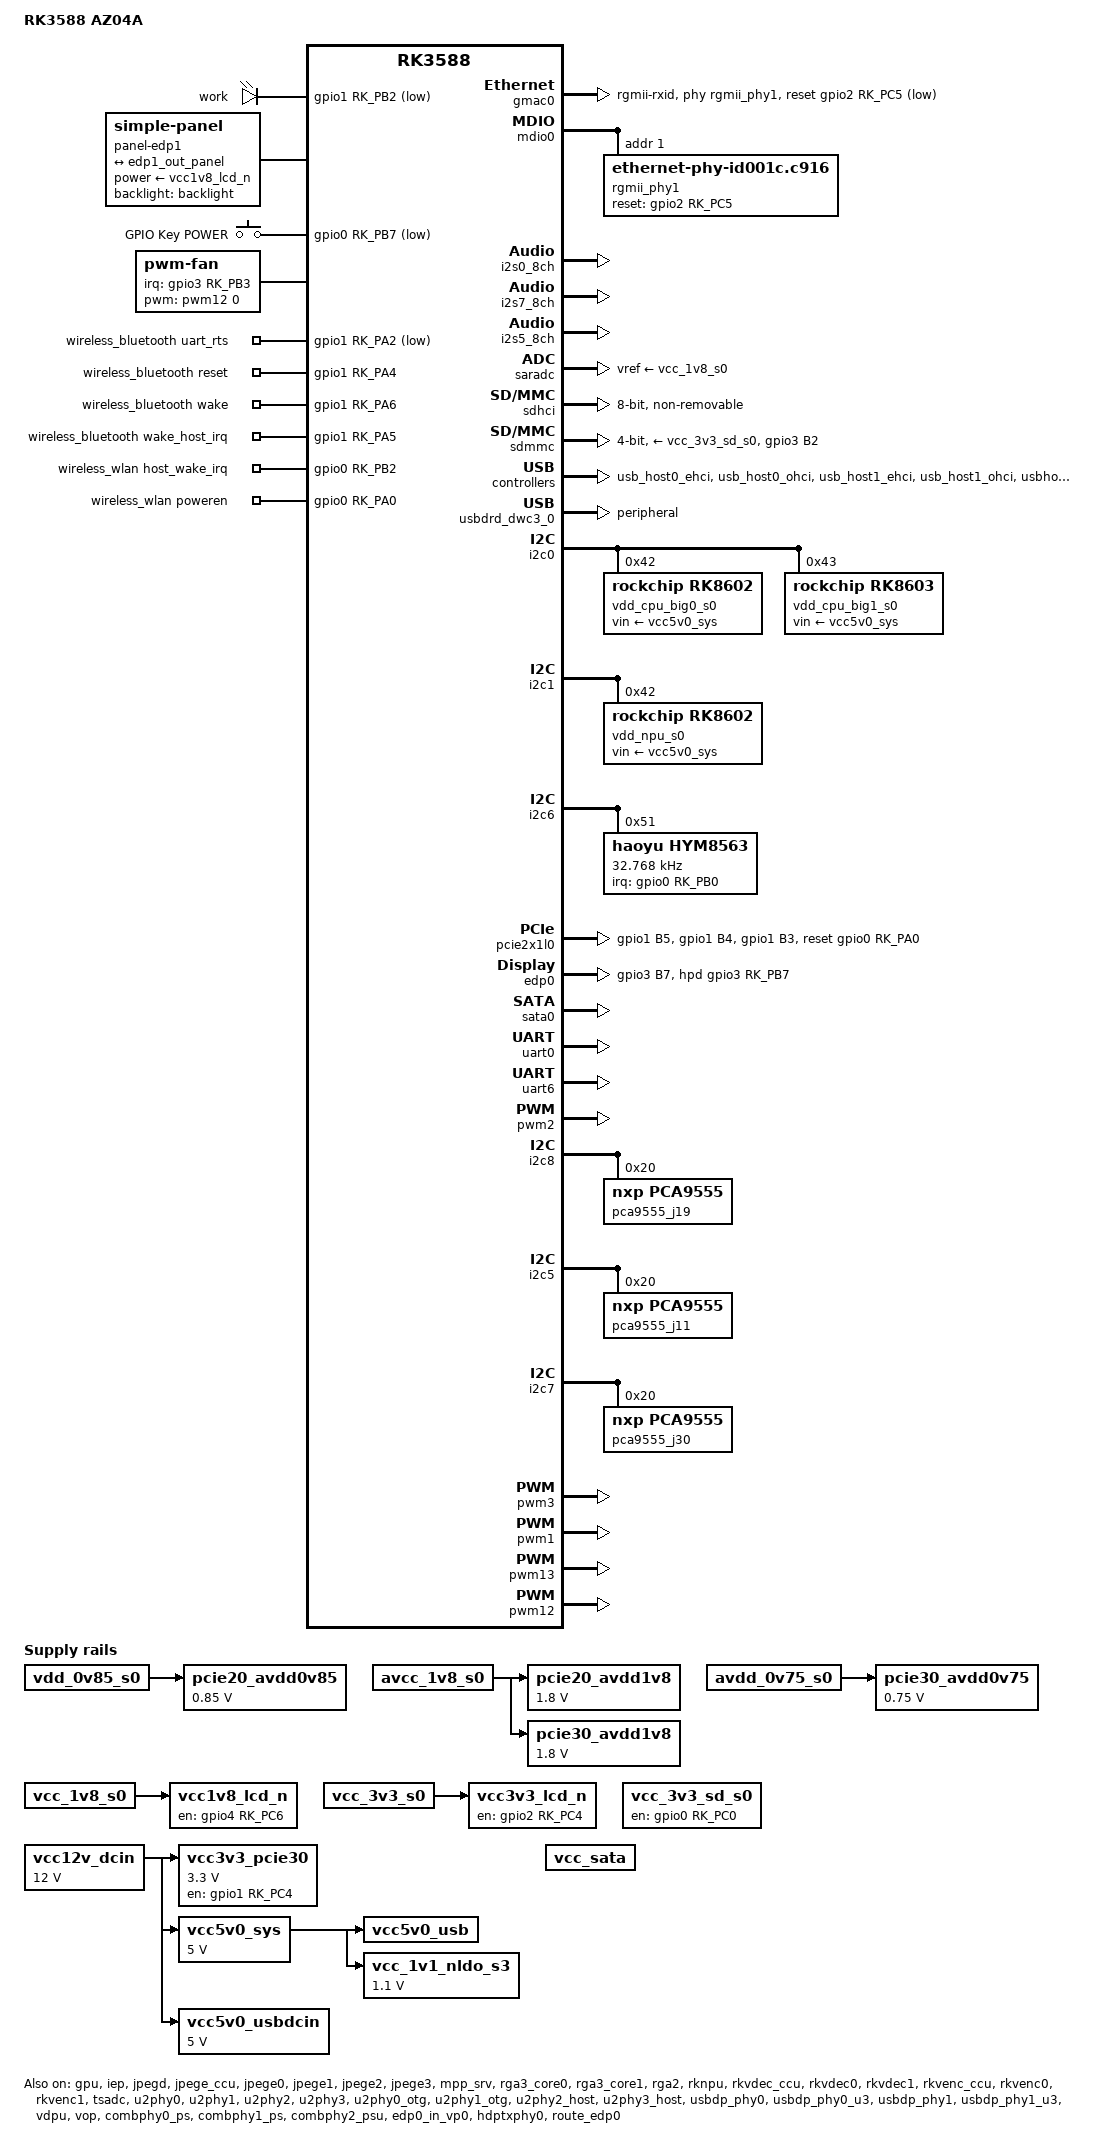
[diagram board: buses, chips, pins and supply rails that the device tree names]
// SPDX-License-Identifier: (GPL-2.0+ OR MIT)
/*
 * Copyright (c) 2022 Mixtile Limited
 *
 */

/dts-v1/;

#include <dt-bindings/gpio/gpio.h>
#include <dt-bindings/pwm/pwm.h>
#include <dt-bindings/pinctrl/rockchip.h>
#include <dt-bindings/input/rk-input.h>
#include <dt-bindings/display/drm_mipi_dsi.h>
#include <dt-bindings/display/rockchip_vop.h>
#include <dt-bindings/sensor-dev.h>

#include "dt-bindings/usb/pd.h"
#include "rk3588.dtsi"
#include "rk3588-rk806-single.dtsi"
#include "rk3588-linux.dtsi"

//#include "rk3588-blade3-imx415.dtsi"

/ {
	model = "RK3588 AZ04A";
	compatible = "rockchip,rk3588-az04a", "rockchip,rk3588";

	/* If hdmirx node is disabled, delete the reserved-memory node here. */
	reserved-memory {
		#address-cells = <2>;
		#size-cells = <2>;
		ranges;

		/* Reserve 256MB memory for hdmirx-controller@fdee0000 */
		cma {
			compatible = "shared-dma-pool";
			reusable;
			reg = <0x0 (256 * 0x100000) 0x0 (256 * 0x100000)>;
			linux,cma-default;
		};
	};

	leds: gpio-leds {
		compatible = "gpio-leds";

		work_led: work {
			gpios = <&gpio1 RK_PB2 GPIO_ACTIVE_LOW>;
			label = "work";
			linux,default-trigger = "timer";
			pinctrl-names = "default";
			pinctrl-0 = <&work_ctl>;
		};
	};

	panel-edp1 {
		compatible = "simple-panel";
		backlight = <&backlight>;
		power-supply = <&vcc1v8_lcd_n>;
		prepare-delay-ms = <120>;
		enable-delay-ms = <120>;
		unprepare-delay-ms = <120>;
		disable-delay-ms = <120>;
		width-mm = <129>;
		height-mm = <171>;

		panel-timing {
			clock-frequency = <200000000>;
			hactive = <1536>;
			vactive = <2048>;
			hfront-porch = <12>;
			hsync-len = <16>;
			hback-porch = <48>;
			vfront-porch = <8>;
			vsync-len = <4>;
			vback-porch = <8>;
			hsync-active = <0>;
			vsync-active = <0>;
			de-active = <0>;
			pixelclk-active = <0>;
		};

		port {
			panel_in_edp1: endpoint {
				remote-endpoint = <&edp1_out_panel>;
			};
		};
	};

	edp0-sound {
		compatible = "simple-audio-card";
		simple-audio-card,name = "rockchip-edp-sound";

		simple-audio-card,cpu {
			sound-dai = <&spdif_tx3>;
		};

		simple-audio-card,codec {
			sound-dai = <&edp0 1>;
		};
	};

	pcie20_avdd0v85: pcie20-avdd0v85 {
		compatible = "regulator-fixed";
		regulator-name = "pcie20_avdd0v85";
		regulator-boot-on;
		regulator-always-on;
		regulator-min-microvolt = <850000>;
		regulator-max-microvolt = <850000>;
		vin-supply = <&vdd_0v85_s0>;
	};

	pcie20_avdd1v8: pcie20-avdd1v8 {
		compatible = "regulator-fixed";
		regulator-name = "pcie20_avdd1v8";
		regulator-boot-on;
		regulator-always-on;
		regulator-min-microvolt = <1800000>;
		regulator-max-microvolt = <1800000>;
		vin-supply = <&avcc_1v8_s0>;
	};

	pcie30_avdd0v75: pcie30-avdd0v75 {
		compatible = "regulator-fixed";
		regulator-name = "pcie30_avdd0v75";
		regulator-boot-on;
		regulator-always-on;
		regulator-min-microvolt = <750000>;
		regulator-max-microvolt = <750000>;
		vin-supply = <&avdd_0v75_s0>;
	};

	pcie30_avdd1v8: pcie30-avdd1v8 {
		compatible = "regulator-fixed";
		regulator-name = "pcie30_avdd1v8";
		regulator-boot-on;
		regulator-always-on;
		regulator-min-microvolt = <1800000>;
		regulator-max-microvolt = <1800000>;
		vin-supply = <&avcc_1v8_s0>;
	};

	vcc3v3_pcie30: vcc3v3-pcie30 {
		compatible = "regulator-fixed";
		regulator-name = "vcc3v3_pcie30";
		regulator-min-microvolt = <3300000>;
		regulator-max-microvolt = <3300000>;
		enable-active-high;
		gpios = <&gpio1 RK_PC4 GPIO_ACTIVE_HIGH>;
		startup-delay-us = <5000>;
		vin-supply = <&vcc12v_dcin>;
	};

	vcc_3v3_sd_s0: vcc-3v3-sd-s0-regulator {
		compatible = "regulator-fixed";
		gpio = <&gpio0 RK_PC0 GPIO_ACTIVE_HIGH>;
		pinctrl-names = "default";
		pinctrl-0 = <&sd_s0_pwr>;
		regulator-name = "vcc_3v3_sd_s0";
		enable-active-high;
	};

	vcc12v_dcin: vcc12v-dcin {
		compatible = "regulator-fixed";
		regulator-name = "vcc12v_dcin";
		regulator-always-on;
		regulator-boot-on;
		regulator-min-microvolt = <12000000>;
		regulator-max-microvolt = <12000000>;
	};

	vcc5v0_sys: vcc5v0-sys {
		compatible = "regulator-fixed";
		regulator-name = "vcc5v0_sys";
		regulator-always-on;
		regulator-boot-on;
		regulator-min-microvolt = <5000000>;
		regulator-max-microvolt = <5000000>;
		vin-supply = <&vcc12v_dcin>;
	};

	vcc5v0_usbdcin: vcc5v0-usbdcin {
		compatible = "regulator-fixed";
		regulator-name = "vcc5v0_usbdcin";
		regulator-always-on;
		regulator-boot-on;
		regulator-min-microvolt = <5000000>;
		regulator-max-microvolt = <5000000>;
		vin-supply = <&vcc12v_dcin>;
	};

	vcc5v0_usb: vcc5v0-usb {
		compatible = "regulator-fixed";
		regulator-name = "vcc5v0_usb";
		regulator-boot-on;
		regulator-always-on;
		enable-active-high;
		vin-supply = <&vcc5v0_sys>;
		pinctrl-names = "default";
		pinctrl-0 = <&usb20_host_pwren0_1v8 &usb20_host_pwren1_1v8 &usb20_host_pwren2_1v8 
					 &usb30_host_pwren0_1v8 &usb30_host_pwren1_1v8 &usb30_host_pwren2_1v8 &usb30_host_pwren3_1v8>;
	};

	vcc_1v1_nldo_s3: vcc-1v1-nldo-s3 {
		compatible = "regulator-fixed";
		regulator-name = "vcc_1v1_nldo_s3";
		regulator-always-on;
		regulator-boot-on;
		regulator-min-microvolt = <1100000>;
		regulator-max-microvolt = <1100000>;
		vin-supply = <&vcc5v0_sys>;
	};

	//vcc_mipidcphy0: vcc-mipidcphy0-regulator {
	//	compatible = "regulator-fixed";
	//	gpio = <&gpio2 RK_PC4 GPIO_ACTIVE_HIGH>;
	//	pinctrl-names = "default";
	//	pinctrl-0 = <&mipidcphy0_pwr>;
	//	regulator-name = "vcc_mipidcphy0";
	//	enable-active-high;
	//};

	vcc1v8_lcd_n: vcc1v8-lcd-n {
		compatible = "regulator-fixed";
		regulator-name = "vcc1v8_lcd_n";
		regulator-boot-on;
		enable-active-high;
		pinctrl-0 = <&mipi_pwren_1v8>;
		pinctrl-names = "default";
		gpio = <&gpio4 RK_PC6 GPIO_ACTIVE_HIGH>;
		vin-supply = <&vcc_1v8_s0>;
	};

	vcc3v3_lcd_n: vcc3v3-lcd-n {
		compatible = "regulator-fixed";
		regulator-name = "vcc3v3_lcd_n";
		regulator-boot-on;
		enable-active-high;
		pinctrl-0 = <&mipi_pwren_3v3>;
		pinctrl-names = "default";
		gpio = <&gpio2 RK_PC4 GPIO_ACTIVE_HIGH>;
		vin-supply = <&vcc_3v3_s0>;
	};

	vcc_sata:vcc-sata {
		compatible = "regulator-fixed";
		regulator-name = "vcc_sata";
		regulator-always-on;
		pinctrl-0 = <&sata_pwr>;
		pinctrl-names = "default";
	};

	gpio-keys {
		compatible = "gpio-keys";
		pinctrl-0 = <&pwr_press_det>;
		pinctrl-names = "default";

		key-power {
			label = "GPIO Key POWER";
			linux,code = <0x74>;
			gpios = <&gpio0 RK_PB7 GPIO_ACTIVE_LOW>;
		};
	};

	fan: pwm-fan {
		compatible = "pwm-fan";

		interrupt-parent = <&gpio3>;
		interrupts = <RK_PB3 IRQ_TYPE_EDGE_FALLING>;
		pulses-per-revolution = <2>;

		#cooling-cells = <2>;
		pwms = <&pwm12 0 50000 0>;
    };

	wireless_bluetooth: wireless-bluetooth {
		compatible = "bluetooth-platdata";
		clocks = <&hym8563>;
		clock-names = "ext_clock"; 
		uart_rts_gpios = <&gpio1 RK_PA2 GPIO_ACTIVE_LOW>;
		pinctrl-names = "default", "rts_gpio";
		pinctrl-0 = <&uart6m1_rtsn>;
		pinctrl-1 = <&uart6_gpios>;
		BT,reset_gpio    = <&gpio1 RK_PA4 GPIO_ACTIVE_HIGH>;
		BT,wake_gpio     = <&gpio1 RK_PA6 GPIO_ACTIVE_HIGH>;
		BT,wake_host_irq = <&gpio1 RK_PA5 GPIO_ACTIVE_HIGH>;
		status = "okay";
	};

	wireless_wlan: wireless-wlan {
		compatible = "wlan-platdata";
		wifi_chip_type = "ap6275p";
		pinctrl-names = "default";
		pinctrl-0 = <&wifi_host_wake_irq>, <&wifi_poweren_gpio>;
		WIFI,host_wake_irq = <&gpio0 RK_PB2 GPIO_ACTIVE_HIGH>;
		WIFI,poweren_gpio = <&gpio0 RK_PA0 GPIO_ACTIVE_HIGH>;
		status = "okay";
	};

	//主控PCM 主从配制 用于蓝牙与主控PCM连接，如下：
	//RK做主，codec做从：主控配制为主，pcm_sync/pcm_clk 信号由由主控提供。
	bt-sound {
		compatible = "simple-audio-card";
		simple-audio-card,format = "dsp_b";
		simple-audio-card,bitclock-inversion = <1>;
		simple-audio-card,mclk-fs = <256>;
		simple-audio-card,name = "rockchip,bt";

		simple-audio-card,cpu {
			sound-dai = <&i2s0_8ch>; //根据原理图找到对应的I2S/PCM接口，引用它并使能它；
		};

		simple-audio-card,codec {
			sound-dai = <&bt_sco>;
		};
	};
		bt_sco: bt-sco {
			compatible = "delta,dfbmcs320";
			#sound-dai-cells = <0>;
			status = "okay";
		};
	//RK做从，codec做主：蓝牙芯片配制为主，pcm_sync/pcm_clk 信号由由蓝牙提供。
	bt-sound {
		compatible = "simple-audio-card";
		simple-audio-card,format = "dsp_b";
		simple-audio-card,bitclock-inversion = <1>;
		simple-audio-card,mclk-fs = <256>;
		simple-audio-card,name = "rockchip,bt";
		simple-audio-card,bitclock-master = <&sound2_master>;
		simple-audio-card,frame-master = <&sound2_master>;

		simple-audio-card,cpu {
			sound-dai = <&i2s0_8ch>; //根据原理图找到对应的I2S/PCM接口，引用它并使能它；
		};

		sound2_master:simple-audio-card,codec {
			sound-dai = <&bt_sco>;
		};
	};

	bt_sco: bt-sco {
		compatible = "delta,dfbmcs320";
		#sound-dai-cells = <0>;
		status = "okay";
	};

	backlight: backlight {
		compatible = "pwm-backlight";
		brightness-levels = <
			  0  20  20  21  21  22  22  23
			 23  24  24  25  25  26  26  27
			 27  28  28  29  29  30  30  31
			 31  32  32  33  33  34  34  35
			 35  36  36  37  37  38  38  39
			 40  41  42  43  44  45  46  47
			 48  49  50  51  52  53  54  55
			 56  57  58  59  60  61  62  63
			 64  65  66  67  68  69  70  71
			 72  73  74  75  76  77  78  79
			 80  81  82  83  84  85  86  87
			 88  89  90  91  92  93  94  95
			 96  97  98  99 100 101 102 103
			104 105 106 107 108 109 110 111
			112 113 114 115 116 117 118 119
			120 121 122 123 124 125 126 127
			128 129 130 131 132 133 134 135
			136 137 138 139 140 141 142 143
			144 145 146 147 148 149 150 151
			152 153 154 155 156 157 158 159
			160 161 162 163 164 165 166 167
			168 169 170 171 172 173 174 175
			176 177 178 179 180 181 182 183
			184 185 186 187 188 189 190 191
			192 193 194 195 196 197 198 199
			200 201 202 203 204 205 206 207
			208 209 210 211 212 213 214 215
			216 217 218 219 220 221 222 223
			224 225 226 227 228 229 230 231
			232 233 234 235 236 237 238 239
			240 241 242 243 244 245 246 247
			248 249 250 251 252 253 254 255
		>;
		default-brightness-level = <200>;
		enable-gpios = <&gpio3 RK_PB1 GPIO_ACTIVE_HIGH>;
		pwms = <&pwm13 0 25000 0>;
	};

	//backlight0: backlight0 {
	//	compatible = "pwm-backlight";
	//	pwms = <&pwm3 0 25000 0>;
	//	enable-gpios = <&gpio1 RK_PC1 GPIO_ACTIVE_HIGH>;
	//	default-brightness-level = <200>;
	//	status = "okay";
	//};

	backlight0: backlight0  {
		compatible = "pwm-backlight";
		enable-gpios = <&gpio1 RK_PC1 GPIO_ACTIVE_HIGH>;
		pwms = <&pwm3 0 25000 0>;
		//pinctrl-0 = <0x124>;
		//pinctrl-names = "default";
		power-supply = <&vcc5v0_sys>;
		status = "disabled";
		brightness-levels = <0x00 0x1a 0x21 0x2a 0x33 0x3d 0x49 0x56 0x64 0x74 0x86 0x99 0xad 0xc3 0xdb 0xf5 0x110 0x12e 0x14d 0x16e 0x192 0x1b7 0x1de 0x208 0x234 0x262 0x292 0x2c5 0x2fa 0x332 0x36c 0x3a9 0x3e8>;
		default-brightness-level = <0x1d>;
		max-duty-cycle = <0x4e20>;
	};

	backlight1: backlight1 {
		compatible = "pwm-backlight";
		pwms = <&pwm1 0 25000 0>;
		enable-gpios = <&gpio1 RK_PC6 GPIO_ACTIVE_LOW>;
		default-brightness-level = <200>;
		status = "disabled";
	};
};

&gmac0 {
	/* Use rgmii-rxid mode to disable rx delay inside Soc */
	phy-mode = "rgmii-rxid";
	clock_in_out = "output";

	snps,reset-gpio = <&gpio2 RK_PC5 GPIO_ACTIVE_HIGH>;
	snps,reset-active-low;
	/* Reset time is 20ms, 100ms for rtl8211f */
	snps,reset-delays-us = <0 20000 100000>;

	pinctrl-names = "default";
	pinctrl-0 = <&gmac0_miim
		     &gmac0_tx_bus2
		     &gmac0_rx_bus2
		     &gmac0_rgmii_clk
		     &gmac0_rgmii_bus>;

	tx_delay = <0x43>;
	rx_delay = <0x3f>;

	phy-handle = <&rgmii_phy1>;
	status = "okay";
};

&mdio0 {
	rgmii_phy1: phy@1 {
		compatible = "ethernet-phy-id001c.c916";
		reset-gpios = <&gpio2 RK_PC5 GPIO_ACTIVE_HIGH>;
		reg = <0x1>;
	};
};

&av1d_mmu {
	status = "okay";
};

&cpu_l0 {
	cpu-supply = <&vdd_cpu_lit_s0>;
	mem-supply = <&vdd_cpu_lit_mem_s0>;
};

&cpu_b0 {
	cpu-supply = <&vdd_cpu_big0_s0>;
	mem-supply = <&vdd_cpu_big0_mem_s0>;
};

&cpu_b2 {
	cpu-supply = <&vdd_cpu_big1_s0>;
	mem-supply = <&vdd_cpu_big1_mem_s0>;
};

&gpu {
	mali-supply = <&vdd_gpu_s0>;
	mem-supply = <&vdd_gpu_mem_s0>;
	status = "okay";
};

&i2s0_8ch {
	status = "okay";
	pinctrl-0 = <&i2s0_lrck
		     &i2s0_sclk
		     &i2s0_sdi0
		     &i2s0_sdo0>;
};

&i2s7_8ch {
	status = "okay";
};

&i2s5_8ch {
	status = "okay";
};

&iep {
	status = "okay";
};

&iep_mmu {
	status = "okay";
};

&jpegd {
	status = "okay";
};

&jpegd_mmu {
	status = "okay";
};

&jpege_ccu {
	status = "okay";
};

&jpege0 {
	status = "okay";
};

&jpege0_mmu {
	status = "okay";
};

&jpege1 {
	status = "okay";
};

&jpege1_mmu {
	status = "okay";
};

&jpege2 {
	status = "okay";
};

&jpege2_mmu {
	status = "okay";
};

&jpege3 {
	status = "okay";
};

&jpege3_mmu {
	status = "okay";
};

&mpp_srv {
	status = "okay";
};

&rga3_core0 {
	status = "okay";
};

&rga3_0_mmu {
	status = "okay";
};

&rga3_core1 {
	status = "okay";
};

&rga3_1_mmu {
	status = "okay";
};

&rga2 {
	status = "okay";
};

&rknpu {
	rknpu-supply = <&vdd_npu_s0>;
	mem-supply = <&vdd_npu_mem_s0>;
	status = "okay";
};

&rknpu_mmu {
	status = "okay";
};

&rkvdec_ccu {
	status = "okay";
};

&rkvdec0 {
	status = "okay";
};

&rkvdec0_mmu {
	status = "okay";
};

&rkvdec1 {
	status = "okay";
};

&rkvdec1_mmu {
	status = "okay";
};

&rkvenc_ccu {
	status = "okay";
};

&rkvenc0 {
	status = "okay";
};

&rkvenc0_mmu {
	status = "okay";
};

&rkvenc1 {
	status = "okay";
};

&rkvenc1_mmu {
	status = "okay";
};

&rockchip_suspend {
	status = "okay";
	rockchip,sleep-debug-en = <1>;
	rockchip,sleep-mode-config = <0x4000024>;
};

&saradc {
	status = "okay";
	vref-supply = <&vcc_1v8_s0>;
};

&sdhci {
	bus-width = <8>;
	no-sdio;
	no-sd;
	non-removable;
	max-frequency = <200000000>;
	mmc-hs400-1_8v;
	mmc-hs400-enhanced-strobe;
	status = "okay";
};

&sdmmc {
	pinctrl-names = "default";
	pinctrl-0 = <&sdmmc_clk &sdmmc_cmd &sdmmc_det &sdmmc_bus4 &sdmmc_wp>;
	max-frequency = <200000000>;
	no-sdio;
	no-mmc;
	bus-width = <4>;
	cap-mmc-highspeed;
	cap-sd-highspeed;
	disable-wp;
	sd-uhs-sdr104;
	vmmc-supply = <&vcc_3v3_sd_s0>;
	vqmmc-supply = <&vccio_sd_s0>;
	status = "okay";
};

&tsadc {
	status = "okay";
};

&u2phy0 {
	status = "okay";
};

&u2phy1 {
	status = "okay";
	phy-supply = <&vcc5v0_usb>;
};

&u2phy2 {
	status = "okay";
	phy-supply = <&vcc5v0_usb>;
};

&u2phy3 {
	status = "okay";
	phy-supply = <&vcc5v0_usb>;
};

&u2phy0_otg {
	status = "okay";
	rockchip,typec-vbus-det;
};

&u2phy1_otg {
	status = "okay";
	//rockchip,typec-vbus-det;
};

&u2phy2_host {
	status = "okay";
	phy-supply = <&vcc5v0_usb>;
};

&u2phy3_host {
	status = "okay";
	phy-supply = <&vcc5v0_usb>;
};

&usb_host0_ehci {
	status = "okay";
};

&usb_host0_ohci {
	status = "okay";
};

&usb_host1_ehci {
	status = "okay";
};

&usb_host1_ohci {
	status = "okay";
};

&usbhost3_0 {
	status = "okay";
};

&usbhost_dwc3_0 {
	status = "okay";
};

// USB3.0/DP Combo PHY0
&usbdp_phy0 {
	status = "okay";
};

&usbdp_phy0_u3 {
	//maximum-speed = "high-speed";
	status = "okay";
};

&usbdp_phy1 {
	status = "okay";
};

&usbdp_phy1_u3 {
	//maximum-speed = "high-speed";
	status = "okay";
};

&usbdrd3_0 {
	status = "okay";
};

&usbdrd_dwc3_0 {
	dr_mode = "peripheral";
	status = "okay";
};

&usbdrd3_1 {
	status = "okay";
};

&usbdrd_dwc3_1 {
	status = "okay";
};

&vdpu {
	status = "okay";
};

&vdpu_mmu {
	status = "okay";
};

&vop {
	status = "okay";
};

&vop_mmu {
	status = "okay";
};

/* vp0 & vp1 splice for 8K output */
&vp0 {
	rockchip,plane-mask = <(1 << ROCKCHIP_VOP2_CLUSTER0 | 1 << ROCKCHIP_VOP2_ESMART0)>;
	rockchip,primary-plane = <ROCKCHIP_VOP2_ESMART0>;
};

&vp1 {
	rockchip,plane-mask = <(1 << ROCKCHIP_VOP2_CLUSTER1 | 1 << ROCKCHIP_VOP2_ESMART1)>;
	rockchip,primary-plane = <ROCKCHIP_VOP2_ESMART1>;
};

&vp2 {
	rockchip,plane-mask = <(1 << ROCKCHIP_VOP2_CLUSTER2 | 1 << ROCKCHIP_VOP2_ESMART2)>;
	rockchip,primary-plane = <ROCKCHIP_VOP2_ESMART2>;
};

&vp3 {
	rockchip,plane-mask = <(1 << ROCKCHIP_VOP2_CLUSTER3 | 1 << ROCKCHIP_VOP2_ESMART3)>;
	rockchip,primary-plane = <ROCKCHIP_VOP2_ESMART3>;
};

&combphy0_ps {
	status = "okay";
};

&combphy1_ps {
	status = "okay";
};

&combphy2_psu {
	status = "okay";
};

&i2c0 {
	status = "okay";
	pinctrl-names = "default";
	pinctrl-0 = <&i2c0m2_xfer>;

	vdd_cpu_big0_s0: vdd_cpu_big0_mem_s0: rk8602@42 {
		compatible = "rockchip,rk8602";
		reg = <0x42>;
		vin-supply = <&vcc5v0_sys>;
		regulator-compatible = "rk860x-reg";
		regulator-name = "vdd_cpu_big0_s0";
		regulator-min-microvolt = <550000>;
		regulator-max-microvolt = <1050000>;
		regulator-ramp-delay = <2300>;
		rockchip,suspend-voltage-selector = <1>;
		regulator-boot-on;
		regulator-always-on;
		regulator-state-mem {
			regulator-off-in-suspend;
		};
	};

	vdd_cpu_big1_s0: vdd_cpu_big1_mem_s0: rk8603@43 {
		compatible = "rockchip,rk8603";
		reg = <0x43>;
		vin-supply = <&vcc5v0_sys>;
		regulator-compatible = "rk860x-reg";
		regulator-name = "vdd_cpu_big1_s0";
		regulator-min-microvolt = <550000>;
		regulator-max-microvolt = <1050000>;
		regulator-ramp-delay = <2300>;
		rockchip,suspend-voltage-selector = <1>;
		regulator-boot-on;
		regulator-always-on;
		regulator-state-mem {
			regulator-off-in-suspend;
		};
	};
};

&i2c1 {
	status = "okay";
	pinctrl-names = "default";
	pinctrl-0 = <&i2c1m2_xfer>;

	vdd_npu_s0: vdd_npu_mem_s0: rk8602@42 {
		compatible = "rockchip,rk8602";
		reg = <0x42>;
		vin-supply = <&vcc5v0_sys>;
		regulator-compatible = "rk860x-reg";
		regulator-name = "vdd_npu_s0";
		regulator-min-microvolt = <550000>;
		regulator-max-microvolt = <950000>;
		regulator-ramp-delay = <2300>;
		rockchip,suspend-voltage-selector = <1>;
		regulator-boot-on;
		regulator-always-on;
		regulator-state-mem {
			regulator-off-in-suspend;
		};
	};
};

&i2c6 {
	status = "okay";
	pinctrl-0 = <&i2c6m4_xfer>;

	hym8563: hym8563@51 {
		compatible = "haoyu,hym8563";
		reg = <0x51>;
		#clock-cells = <0>;
		clock-frequency = <32768>;
		clock-output-names = "hym8563";
		pinctrl-names = "default";
		pinctrl-0 = <&hym8563_int>;
		interrupt-parent = <&gpio0>;
		interrupts = <RK_PB0 IRQ_TYPE_LEVEL_LOW>;
		wakeup-source;
	};
};

&pcie2x1l0 { // combphy1, to AP6275P
	pinctrl-0 = <&pcie2x1l0_pins>;
	pinctrl-names = "default";
	reset-gpios = <&gpio0 RK_PA0 GPIO_ACTIVE_HIGH>;
	status = "okay";
};

&pcie2x1l1 {
	reset-gpios = <&gpio4 RK_PA2 GPIO_ACTIVE_HIGH>;
	status = "disabled";
};

&pcie30phy {
	rockchip,pcie30-phymode = <PHY_MODE_PCIE_AGGREGATION>; /* P1:PCIe3x2  +  P0:PCIe3x2 */
	status = "disabled";
};

&pcie3x4 {
	pinctrl-0 = <&pcie30x4m2_pins>;
	pinctrl-names = "default";
    reset-gpios = <&gpio3 RK_PC6 GPIO_ACTIVE_HIGH>;
    vpcie3v3-supply = <&vcc3v3_pcie30>;
    status = "disabled";
};

&pinctrl {
	work {
		work_ctl: work-ctl {
			rockchip,pins = <1 RK_PB2 RK_FUNC_GPIO &pcfg_pull_up>;
		};
	};

	sdmmc {
		sd_s0_pwr: sd-s0-pwr {
			rockchip,pins = <0 RK_PC0 RK_FUNC_GPIO &pcfg_pull_up>;
		};

		sdmmc_wp: sdmmc-wp {
			rockchip,pins = <3 RK_PB2 RK_FUNC_GPIO &pcfg_pull_up>;
		};
	};

	usb {
		vcc5v0_host_en: vcc5v0-host-en {
			rockchip,pins = <4 RK_PB0 RK_FUNC_GPIO &pcfg_pull_none>;
		};
	};

	pcie {
		pcie-pwren-h-1v8 {
			rockchip,pins = <0x01 0x14 0x00 0xff>;
		};

		pcie3x4_pins: pcie3x4-pins {
			rockchip,pins = <0x03 0x14 0x04 0xff 0x03 0x16 0x04 0xff 0x03 0x15 0x04 0xff>;
		};

		pcie2x1l0_pins: pcie2x1l0-pins {
			rockchip,pins = /* pcie30x1_0_clkreqn_m2 */
							<1 RK_PB5 4 &pcfg_pull_none>,
							/* pcie30x1_0_perstn_m2 */
							<1 RK_PB4 4 &pcfg_pull_none>,
							/* pcie30x1_0_waken_m2 */
							<1 RK_PB3 4 &pcfg_pull_none>;
		};
	};

	wireless-wlan {
		wifi_host_wake_irq: wifi-host-wake-irq {
			rockchip,pins = <0 RK_PB2 RK_FUNC_GPIO &pcfg_pull_down>;
		};

		wifi_poweren_gpio: wifi-poweren-gpio {
			rockchip,pins = <0 RK_PA0 RK_FUNC_GPIO &pcfg_pull_up>;
		};
	};

	hym8563 {
		hym8563_int: hym8563-int {
			rockchip,pins = <0 RK_PB0 RK_FUNC_GPIO &pcfg_pull_up>;
		};
	};

	wireless-bluetooth {
		uart6_gpios: uart6-gpios {
			rockchip,pins = <1 RK_PA2 RK_FUNC_GPIO &pcfg_pull_none>;
		};
	};

	fan {
		fan-tack-in {
			rockchip,pins = <0x03 RK_PB3 0x00 0x103>;
		};
	};

	gpio-keys {
		pwr_press_det: pwr-press-det {
			rockchip,pins = <0x00 RK_PB7 0x00 0xff>;
		};
	};

	edp {
		edp0_hpd: edp0-hpd {
			rockchip,pins = <3 RK_PB7 RK_FUNC_GPIO &pcfg_pull_none>;
		};

		edp1_hpd: edp1-hpd {
			rockchip,pins = <3 RK_PD4 RK_FUNC_GPIO &pcfg_pull_none>;
		};
    };

	usb {

		usb20_host_pwren0_1v8: usb20-host-pwren0-1v8 {
			rockchip,pins = <0x01 RK_PB7 RK_FUNC_GPIO &pcfg_pull_up>;
		};

		usb20_host_pwren1_1v8: usb20-host-pwren1-1v8 {
			rockchip,pins = <0x01 RK_PD6 RK_FUNC_GPIO &pcfg_pull_up>;
		};

		usb20_host_pwren2_1v8: usb20-host-pwren2-1v8 {
			rockchip,pins = <0x01 RK_PD7 RK_FUNC_GPIO &pcfg_pull_up>;
		};

		usb30_host_pwren0_1v8: usb30-host-pwren0-1v8 {
			rockchip,pins = <0x02 RK_PB4 RK_FUNC_GPIO &pcfg_pull_up>;
		};

		usb30_host_pwren1_1v8: usb30-host-pwren1-1v8 {
			rockchip,pins = <0x02 RK_PB5 RK_FUNC_GPIO &pcfg_pull_up>;
		};

		usb30_host_pwren2_1v8: usb30-host-pwren2-1v8 {
			rockchip,pins = <0x01 RK_PB0 RK_FUNC_GPIO &pcfg_pull_up>;
		};

		usb30_host_pwren3_1v8: usb30-host-pwren3-1v8 {
			rockchip,pins = <0x01 RK_PA7 RK_FUNC_GPIO &pcfg_pull_up>;
		};
	};

	mipi {
		mipi_pwren_1v8: mipi-pwren-1v8 {
			rockchip,pins = <0x04 0x16 0x00 0xff>;
		};

		mipi_pwren_3v3: mipi-pwren-3v3 {
			rockchip,pins = <0x02 0x14 0x00 0xff>;
		};
	};

	lcd {
		lcd0_rst_gpio: lcd0-rst-gpio {
			rockchip,pins = <1 RK_PC0 RK_FUNC_GPIO &pcfg_pull_none>;
		};

		lcd1_rst_gpio: lcd1-rst-gpio {
			rockchip,pins = <1 RK_PD2 RK_FUNC_GPIO &pcfg_pull_none>;
		};

		//mipidcphy0_pwr: mipidcphy0-pwr {
		//	rockchip,pins =
		//		/* camera power en */
		//		<2 RK_PC4 RK_FUNC_GPIO &pcfg_pull_none>;
		//};
	};

	touch0 {
		touch0_gpio: touch0-gpio {
			rockchip,pins =
				<3 RK_PC0 RK_FUNC_GPIO &pcfg_pull_up>,
				<3 RK_PC1 RK_FUNC_GPIO &pcfg_pull_none>;
		};
	};

	touch1 {
		touch1_gpio: touch1-gpio {
			rockchip,pins =
				<3 RK_PD5 RK_FUNC_GPIO &pcfg_pull_up>,
				<3 RK_PD1 RK_FUNC_GPIO &pcfg_pull_none>;
		};
	};

	touch_edp {
		touch_edp_gpio: touch-edp-gpio {
			rockchip,pins =
				<1 RK_PD1 RK_FUNC_GPIO &pcfg_pull_up>,
				<1 RK_PD0 RK_FUNC_GPIO &pcfg_pull_none>;
		};
	};

	sata {
		sata_pwr: sata-pwr-en-h-1v8 {
			rockchip,pins = <1 RK_PD5 RK_FUNC_GPIO &pcfg_pull_up>;
		};
	};
};

&edp0 {
	pinctrl-names = "default";
    pinctrl-0 = <&edp0_hpd>;
	hpd-gpios = <&gpio3 RK_PB7 GPIO_ACTIVE_HIGH>;
	#sound-dai-cells = <1>;
	status = "okay";
};

&edp0_in_vp0 {
	status = "okay";
};

&hdptxphy0 {
	status = "okay";
};

&route_edp0 {
	status = "okay";
	connect = <&vp0_out_edp0>;
};

&edp1 {
	force-hpd;
	status = "disabled";
	pinctrl-names = "default";
    pinctrl-0 = <&edp1_hpd>;
	hpd-gpios = <&gpio3 RK_PD4 GPIO_ACTIVE_HIGH>;
	ports {
		port@1 {
			reg = <1>;

			edp1_out_panel: endpoint {
				remote-endpoint = <&panel_in_edp1>;
			};
		};
	};
};

&edp1_in_vp0 {
	status = "disabled";
};

&edp1_in_vp1 {
	status = "disabled";
};

&edp1_in_vp2 {
	status = "okay";
};

&hdptxphy1 {
	status = "okay";
};

&route_edp1 {
	status = "okay";
	connect = <&vp1_out_edp1>;
};

&sata0 {
	status = "okay";
};

&uart0 {
	pinctrl-names = "default";
	pinctrl-0 = <&uart0m2_xfer>;
	status = "okay";
};

&uart6 {
	pinctrl-names = "default";
	pinctrl-0 = <&uart6m1_xfer &uart6m1_ctsn>;
	status = "okay";
};

&dsi0 {
	status = "disabled";
	rockchip,lane-rate = <1000>;

};

&dsi1 {
	status = "disabled";
};

/*
 * mipi_dcphy0 needs to be enabled
 * when dsi0 is enabled
 */
&dsi0 {
	status = "disabled";
};

&dsi0_in_vp2 {
	status = "disabled";
};

&dsi0_in_vp3 {
	status = "disabled";
};

&mipi_dcphy0 {
	status = "disabled";
};

&mipi_dcphy1 {
	status = "disabled";
};

&backlight {
	pwms = <&pwm3 0 25000 0>;
	status = "disabled";
};

&backlight0 {
	pwms = <&pwm3 0 25000 0>;
	status = "disabled";
};

&backlight1 {
	pwms = <&pwm1 0 25000 0>;
	status = "disabled";
};

&pwm2 {
	status = "okay";
};

&route_dsi0 {
	status = "disabled";
	connect = <&vp3_out_dsi0>;
};

&route_dsi1 {
	status = "disabled";
	connect = <&vp3_out_dsi1>;
};

&i2c8 {
	pinctrl-names = "default";
	pinctrl-0 = <&i2c8m4_xfer>;
	status = "okay";

	//mipi0_gt1x: gt1x@14 {
	//	compatible = "goodix,gt1x";
	//	reg = <0x14>;
	//	pinctrl-names = "default";
	//	pinctrl-0 = <&touch0_gpio>;
	//	goodix,rst-gpio = <&gpio3 RK_PC0 GPIO_ACTIVE_HIGH>;
	//	goodix,irq-gpio = <&gpio3 RK_PC1 IRQ_TYPE_LEVEL_LOW>;
	//	power-supply = <&vcc3v3_lcd_n &vcc1v8_lcd_n &vcc1v8_lcd0_n>;
	//};

	//ili2117@26 {
	//	compatible = "ilitek,ili2117";
	//	status = "okay";
	//	reg = <0x26 0x62>;
	//	reg-names = "default", "upgrade";
	//	pinctrl-names = "default";
	//	pinctrl-0 = <0xed 0xee>;
	//	interrupt-parent = <&gpio3>;
	//	interrupts = <RK_PC1 IRQ_TYPE_LEVEL_LOW>;
	//	reset-gpios = <&gpio3 RK_PC0 GPIO_ACTIVE_HIGH>;
	//};

	pca9555_j19: gpio@20 {
		compatible = "nxp,pca9555";
		gpio-controller;
		#gpio-cells = <2>;
		reg = <0x20>;
	};
};

&i2c5 {
	pinctrl-names = "default";
	pinctrl-0 = <&i2c5m0_xfer>;
	status = "okay";

	//mipi1_gt1x: gt1x@14 {
	//	compatible = "goodix,gt1x";
	//	reg = <0x14>;
	//	pinctrl-names = "default";
	//	pinctrl-0 = <&touch1_gpio>;
	//	goodix,rst-gpio = <&gpio3 RK_PD5 GPIO_ACTIVE_HIGH>;
	//	goodix,irq-gpio = <&gpio3 RK_PD1 IRQ_TYPE_LEVEL_LOW>;
	//	//power-supply = <&vcc3v3_lcd_n &vcc1v8_lcd_n &vcc1v8_lcd1_n>;
	//};

	pca9555_j11: gpio@20 {
		compatible = "nxp,pca9555";
		gpio-controller;
		#gpio-cells = <2>;
		reg = <0x20>;
	};
};

&i2c7 {
	pinctrl-names = "default";
	pinctrl-0 = <&i2c7m2_xfer>;
	status = "okay";

	//edp1_gt1x: gt1x@14 {
	//	compatible = "goodix,gt1x";
	//	reg = <0x14>;
	//	pinctrl-names = "default";
	//	pinctrl-0 = <&touch_edp_gpio>;
	//	goodix,rst-gpio = <&gpio1 RK_PD1 GPIO_ACTIVE_HIGH>;
	//	goodix,irq-gpio = <&gpio1 RK_PD0 IRQ_TYPE_LEVEL_LOW>;
	//	//power-supply = <&vcc3v3_lcd_n &vcc1v8_lcd_n &vcc1v8_lcd1_n>;
	//};

	pca9555_j30: gpio@20 {
		compatible = "nxp,pca9555";
		gpio-controller;
		#gpio-cells = <2>;
		reg = <0x20>;
	};
};


&pwm3 {
	pinctrl-names = "active";
	pinctrl-0 = <&pwm3m2_pins>;
	status = "okay";
};

&pwm1 {
	pinctrl-names = "active";
	pinctrl-0 = <&pwm1m1_pins>;
	status = "okay";
};

&pwm13 {
	pinctrl-names = "active";
	pinctrl-0 = <&pwm13m0_pins>;
	status = "okay";
};

&pwm12 {
	pinctrl-names = "active";
	pinctrl-0 = <&pwm12m0_pins>;
	status = "okay";
};
